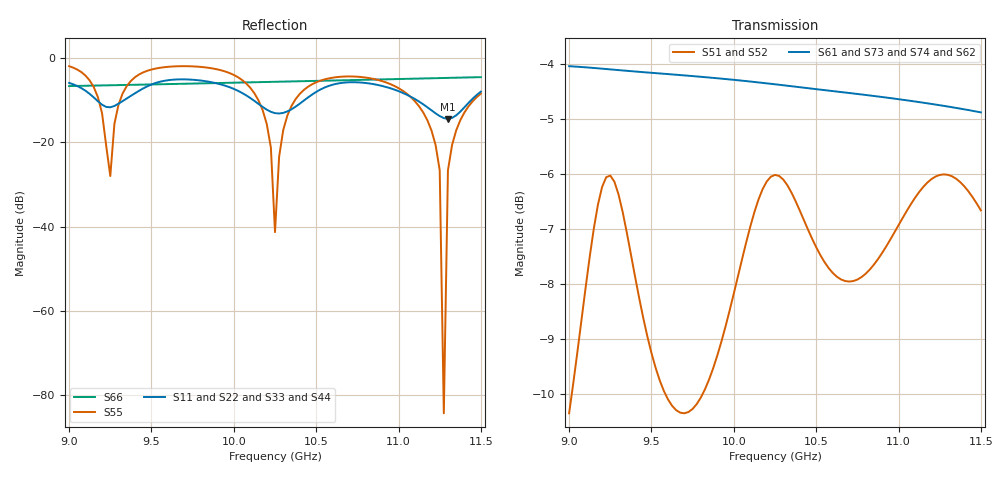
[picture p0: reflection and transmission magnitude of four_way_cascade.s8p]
! Four-way cascade: IN1 IN2 IN3 IN4 OUT DUMP_A DUMP_B DUMP_C
# GHz S MA R 50
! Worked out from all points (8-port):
!   101 points, 9 GHz to 11.5 GHz, reference 50 ohm
!   strongest paths, dB at 9 GHz, 9.625 GHz, 10.25 GHz, 10.88 GHz, 11.5 GHz:
!     S61: -4.0, -4.2, -4.4, -4.6, -4.9
!     S73: -4.0, -4.2, -4.4, -4.6, -4.9
!     S74: -4.1, -4.2, -4.4, -4.6, -4.8
!     S62: -4.1, -4.2, -4.4, -4.6, -4.8
!     S51: -10.4, -10.2, -6.0, -7.6, -6.7
!     S52: -10.4, -10.2, -6.0, -7.6, -6.7
!   lowest |S11| = -14.5 dB at 11.3 GHz (marker M1), VSWR 1.47, Z = 36.5 + j9.47 ohm
!   |S11| at or under -10 dB: 9.166 GHz to 9.336 GHz (169.4 MHz wide, 1.83 % of centre); 10.12 GHz to 10.43 GHz (313.3 MHz wide, 3.05 % of centre); 11.11 GHz to 11.44 GHz (333.9 MHz wide, 2.96 % of centre)
